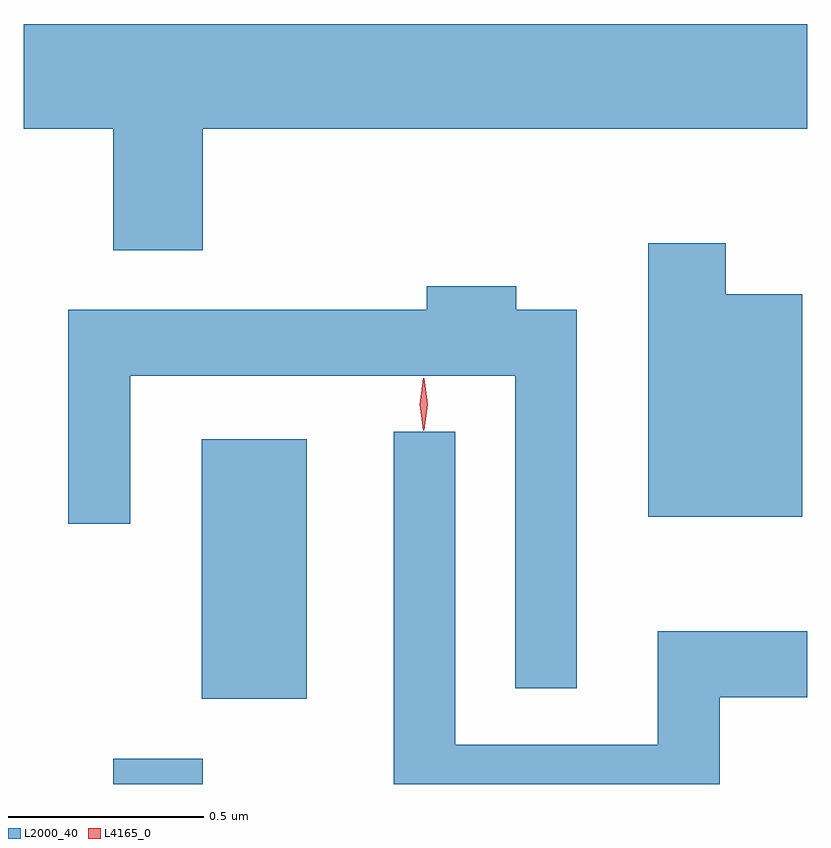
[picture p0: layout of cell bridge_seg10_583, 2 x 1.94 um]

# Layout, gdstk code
import gdstk
lib = gdstk.Library(unit=1e-6, precision=1e-09)
def R(c, l, rs):  # rectangles x0, y0, x1, y1
    for r in rs: c.add(gdstk.rectangle(r[:2], r[2:], *l))
def P(c, l, *ps):  # polygons
    for p in ps: c.add(gdstk.Polygon(p, *l))
L2000_40 = (2000, 40)
L4165_0 = (4165, 0)

bridge_seg10_583 = lib.new_cell('bridge_seg10_583')
R(bridge_seg10_583, L2000_40, [(788.171,2163.304,788.399,2163.369), (788.396,2163.521,788.664,2164.184)])
P(bridge_seg10_583, L2000_40, [(788.399,2164.976),(789.942,2164.976),(789.942,2165.244),(787.942,2165.244),(787.942,2164.976),(788.171,2164.976),(788.171,2164.666),(788.399,2164.666)],
  [(789.929,2164.554),(789.734,2164.554),(789.734,2164.684),(789.536,2164.684),(789.536,2163.986),(789.929,2163.986)],
  [(789.354,2164.514),(789.199,2164.514),(789.199,2164.574),(788.971,2164.574),(788.971,2164.514),(788.056,2164.514),(788.056,2163.968),(788.214,2163.968),(788.214,2164.346),(789.196,2164.346),(789.196,2163.548),(789.354,2163.548)],
  [(789.719,2163.526),(789.942,2163.526),(789.942,2163.694),(789.561,2163.694),(789.561,2163.404),(789.044,2163.404),(789.044,2164.203),(788.886,2164.203),(788.886,2163.304),(789.719,2163.304)])
P(bridge_seg10_583, L4165_0, [(788.962,2164.207),(788.953,2164.274),(788.962,2164.34),(788.963,2164.34),(788.964,2164.34),(788.973,2164.274),(788.964,2164.207),(788.963,2164.207)])

lib.write_gds('bridge_seg10_583.gds')
